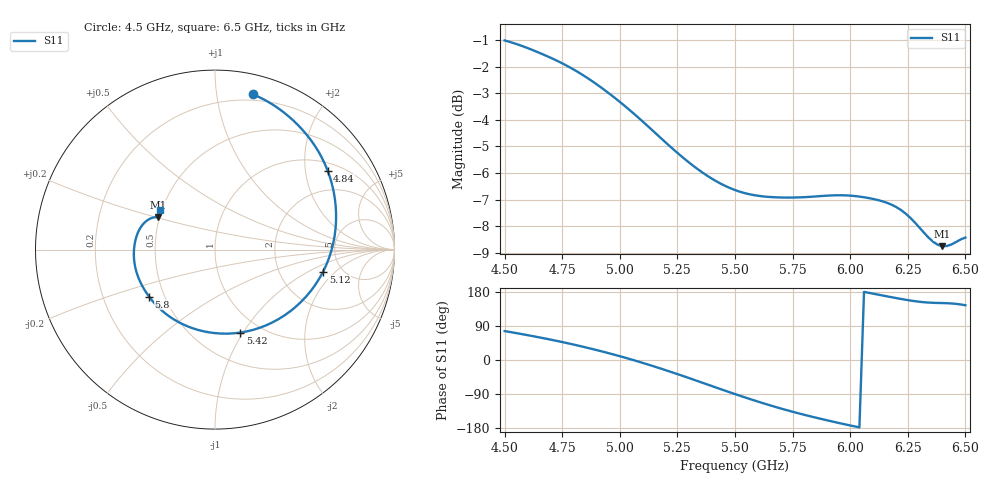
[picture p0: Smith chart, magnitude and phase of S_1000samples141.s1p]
! TOUCHSTONE file generated by CST MICROWAVE STUDIO
! Date and time: Thu Oct 27 03:35:13 2022
! Project name: L.cst
! Parameters = {Di=1.27; Epsilon_r=1.56; InnerDiameter=1.27; Length=2; Lf=10; Lg=60; OuterConductorThickness=0.2921; OuterDiameter=3.6; Wf=3; Wp=41.2; de=1.5; df=6.8; g=0.8; gx=3.88694; gy=2.21232; h=2.34; hf=1.524; px=13.9087; py=8.0377; w=9.7; wx=10.0217; wy=5.82538}
! Header version: 2018
! Port assignment regex: !\s*Touchstone port\s*([0-9]+)\s*=\s*(CST MWS port|CST DS port)\s*([0-9]+|Zmin|Zmax)\s*\(\"(.*)\"\)(\s*mode\s*([0-9]+))?.*
! Touchstone port assignment:
! Touchstone port 1 = CST MWS port 1 ("")
# GHz S DB R 50
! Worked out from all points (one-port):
!   101 points, 4.5 GHz to 6.5 GHz, reference 50 ohm
!   lowest |S11| = -8.8 dB at 6.4 GHz (marker M1), VSWR 2.15, Z = 24.5 + j10.3 ohm
!   |S11| at or under -10 dB: nowhere
!   S11 on the Smith chart (normalised r, x): 4.5 GHz: 0.15, +1.26; 4.84 GHz: 1.25, +2.65; 5.12 GHz: 3.60, -1.42; 5.42 GHz: 0.80, -0.97; 5.8 GHz: 0.41, -0.27; 6.5 GHz: 0.49, +0.25
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4.5  -1.01 76.3
4.56  -1.17 69.9
4.62  -1.36 63.2
4.7  -1.66 53.7
4.76  -1.91 46.1
4.84  -2.31 35.0
4.92  -2.79 23.0
5  -3.32 10.0
5.06  -3.76 -0.4
5.12  -4.22 -11.5
5.2  -4.86 -27.0
5.26  -5.32 -39.2
5.34  -5.87 -56.1
5.42  -6.32 -73.1
5.5  -6.64 -89.9
5.56  -6.80 -102.0
5.64  -6.90 -117.4
5.7  -6.92 -128.1
5.76  -6.92 -138.2
5.8  -6.91 -144.5
5.9  -6.85 -159.2
6  -6.85 -172.7
6.14  -7.07 170.3
6.26  -7.68 157.1
6.34  -8.43 151.6
6.4  -8.76 150.2
6.44  -8.69 149.2
6.5  -8.43 144.4
